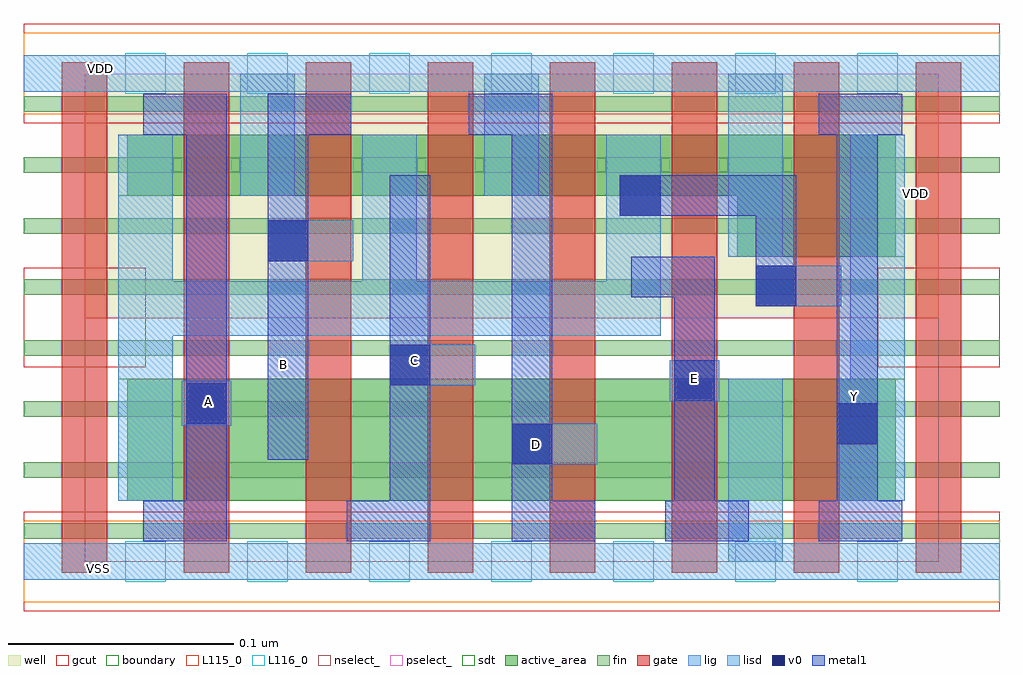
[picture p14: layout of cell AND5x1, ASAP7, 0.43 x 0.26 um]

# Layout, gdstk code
import gdstk
lib = gdstk.Library(unit=1e-6, precision=2.5e-10)
def R(c, l, rs):  # rectangles x0, y0, x1, y1
    for r in rs: c.add(gdstk.rectangle(r[:2], r[2:], *l))
def A(c, l, x, y, w, h, nx, ny, dx, dy):  # array of equal rectangles
    R(c, l, [(x+i*dx, y+j*dy, x+i*dx+w, y+j*dy+h) for i in range(nx) for j in range(ny)])
def P(c, l, *ps):  # polygons
    for p in ps: c.add(gdstk.Polygon(p, *l))
well = (1, 0)
fin = (2, 0)
gate = (7, 0)
gcut = (10, 0)
active_area = (11, 0)
nselect_ = (12, 0)
pselect_ = (13, 0)
lig = (16, 0)
lisd = (17, 0)
v0 = (18, 0)
metal1 = (19, 0)
sdt = (88, 0)
boundary = (100, 0)
L115_0 = (115, 0)
L116_0 = (116, 0)

and5x1 = lib.new_cell('AND5x1')
R(and5x1, well, [(0,0.108,0.378,0.216)])
A(and5x1, fin, -0.027, 0.01, 0.432, 0.007, 1, 8, 0, 0.027)
A(and5x1, gate, -0.01, -0.005, 0.02, 0.226, 8, 1, 0.054, 0)
R(and5x1, gate, [(0.368,-0.005,0.388,0.221), (0.368,-0.005,0.388,0.221), (0.368,-0.005,0.388,0.221)])
R(and5x1, gcut, [(-0.027,-0.022,0.405,0.022), (-0.027,0.086,0.027,0.13), (0.351,0.086,0.405,0.13), (-0.027,0.194,0.405,0.238)])
R(and5x1, active_area, [(0.019,0.027,0.359,0.081), (0.289,0.135,0.359,0.189), (0.019,0.162,0.359,0.189)])
R(and5x1, nselect_, [(0,0,0.378,0.108)])
R(and5x1, pselect_, [(0,0.108,0.378,0.216)])
R(and5x1, lig, [(-0.027,-0.008,0.405,0.008), (0.189,0.043,0.227,0.061), (0.043,0.06,0.065,0.08), (0.259,0.071,0.281,0.089), (0.135,0.078,0.173,0.096), (0.297,0.113,0.335,0.131), (0.081,0.133,0.119,0.151), (-0.027,0.208,0.405,0.224)])
R(and5x1, lisd, [(0.285,0,0.309,0.081), (0.333,0.027,0.363,0.081), (0.339,0.081,0.363,0.189), (0.285,0.135,0.309,0.216), (0.069,0.162,0.093,0.216), (0.177,0.162,0.201,0.216)])
P(and5x1, lisd, [(0.255,0.1),(0.039,0.1),(0.039,0.027),(0.015,0.027),(0.015,0.189),(0.039,0.189),(0.039,0.124),(0.123,0.124),(0.123,0.189),(0.147,0.189),(0.147,0.124),(0.231,0.124),(0.231,0.189),(0.255,0.189)])
R(and5x1, v0, [(0.189,0.043,0.207,0.061), (0.333,0.052,0.351,0.07), (0.045,0.061,0.063,0.079), (0.261,0.071,0.279,0.089), (0.135,0.078,0.153,0.096), (0.297,0.113,0.315,0.131), (0.081,0.133,0.099,0.151), (0.237,0.153,0.255,0.171)])
A(and5x1, metal1, 0.045, 0.009, 0.018, 0.198, 3, 1, 0.144, 0)
A(and5x1, metal1, 0.189, 0.009, 0.037, 0.018, 3, 1, 0.068, 0)
R(and5x1, metal1, [(0.026,0.009,0.063,0.027), (0.116,0.009,0.153,0.027), (0.135,0.009,0.153,0.171), (0.261,0.009,0.279,0.135), (0.081,0.045,0.099,0.207), (0.297,0.113,0.315,0.171), (0.242,0.117,0.279,0.135), (0.237,0.153,0.315,0.171), (0.026,0.189,0.063,0.207), (0.081,0.189,0.118,0.207), (0.17,0.189,0.207,0.207), (0.325,0.189,0.362,0.207)])
A(and5x1, sdt, 0.015, 0.162, 0.024, 0.027, 5, 1, 0.054, 0)
R(and5x1, sdt, [(0.015,0.027,0.039,0.081), (0.285,0.027,0.309,0.081), (0.339,0.027,0.363,0.081), (0.285,0.135,0.309,0.189), (0.339,0.135,0.363,0.189)])
R(and5x1, boundary, [(0,0,0.378,0.216)])
R(and5x1, L115_0, [(-0.027,-0.018,0.405,0.018), (-0.027,0.198,0.405,0.234)])
A(and5x1, L116_0, 0.018, -0.009, 0.018, 0.018, 7, 2, 0.054, 0.216)
and5x1.add(gdstk.Label('D', (0.2,0.052), layer=19, texttype=251))
and5x1.add(gdstk.Label('C', (0.146,0.089), layer=19, texttype=251))
and5x1.add(gdstk.Label('B', (0.088,0.087), layer=19, texttype=251))
and5x1.add(gdstk.Label('A', (0.055,0.071), layer=19, texttype=251))
and5x1.add(gdstk.Label('E', (0.27,0.081), layer=19, texttype=251))
and5x1.add(gdstk.Label('Y', (0.341,0.073), layer=19, texttype=251))
and5x1.add(gdstk.Label('VDD', (0.368,0.163), layer=1, texttype=251))
and5x1.add(gdstk.Label('VSS', (0.446,0.163), layer=3, texttype=251))
and5x1.add(gdstk.Label('VDD', (0.007,0.218), layer=115, texttype=251))
and5x1.add(gdstk.Label('VSS', (0.006,-0.003), layer=115, texttype=251))

lib.write_gds('AND5x1.gds')
